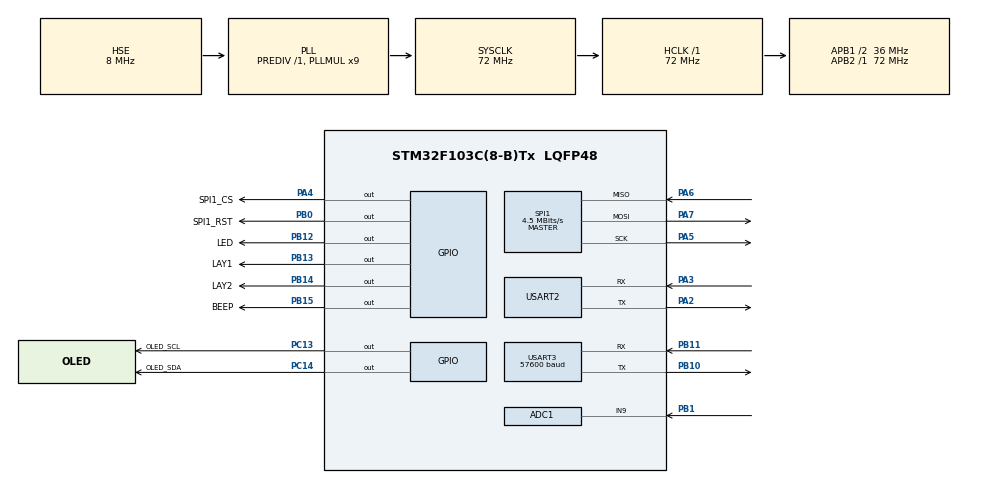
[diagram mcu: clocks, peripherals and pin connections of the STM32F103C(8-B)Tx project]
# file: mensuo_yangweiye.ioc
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ADC1.Channel-0\#ChannelRegularConversion=ADC_CHANNEL_9
ADC1.NbrOfConversionFlag=1
ADC1.Rank-0\#ChannelRegularConversion=1
ADC1.SamplingTime-0\#ChannelRegularConversion=ADC_SAMPLETIME_1CYCLE_5
ADC1.master=1
Mcu.Family=STM32F1
Mcu.Name=STM32F103C(8-B)Tx
Mcu.Package=LQFP48
NVIC.PriorityGroup=NVIC_PRIORITYGROUP_4
NVIC.SPI1_IRQn=true\:2\:0\:true\:false\:true\:true\:true\:true
NVIC.USART2_IRQn=true\:0\:0\:false\:false\:true\:true\:true\:true
NVIC.USART3_IRQn=true\:1\:0\:true\:false\:true\:true\:true\:true
PA13.Mode=Serial_Wire
PA13.Signal=SYS_JTMS-SWDIO
PA14.Mode=Serial_Wire
PA14.Signal=SYS_JTCK-SWCLK
PA2.Mode=Asynchronous
PA2.Signal=USART2_TX
PA3.Mode=Asynchronous
PA3.Signal=USART2_RX
PA4.GPIO_Label=SPI1_CS
PA4.GPIO_PuPd=GPIO_PULLUP
PA4.GPIO_Speed=GPIO_SPEED_FREQ_HIGH
PA4.PinState=GPIO_PIN_SET
PA4.Signal=GPIO_Output
PA5.Mode=Full_Duplex_Master
PA5.Signal=SPI1_SCK
PA6.Mode=Full_Duplex_Master
PA6.Signal=SPI1_MISO
PA7.Mode=Full_Duplex_Master
PA7.Signal=SPI1_MOSI
PB0.GPIO_Label=SPI1_RST
PB0.GPIO_ModeDefaultOutputPP=GPIO_MODE_OUTPUT_PP
PB0.GPIO_PuPd=GPIO_PULLUP
PB0.GPIO_Speed=GPIO_SPEED_FREQ_HIGH
PB0.PinState=GPIO_PIN_SET
PB0.Signal=GPIO_Output
PB1.Signal=ADCx_IN9
PB10.Mode=Asynchronous
PB10.Signal=USART3_TX
PB11.Mode=Asynchronous
PB11.Signal=USART3_RX
PB12.GPIO_Label=LED
PB12.GPIO_ModeDefaultOutputPP=GPIO_MODE_OUTPUT_PP
PB12.GPIO_PuPd=GPIO_PULLUP
PB12.GPIO_Speed=GPIO_SPEED_FREQ_HIGH
PB12.PinState=GPIO_PIN_SET
PB12.Signal=GPIO_Output
PB13.GPIO_Label=LAY1
PB13.GPIO_ModeDefaultOutputPP=GPIO_MODE_OUTPUT_PP
PB13.GPIO_PuPd=GPIO_PULLDOWN
PB13.GPIO_Speed=GPIO_SPEED_FREQ_HIGH
PB13.PinState=GPIO_PIN_SET
PB13.Signal=GPIO_Output
PB14.GPIO_Label=LAY2
PB14.GPIO_PuPd=GPIO_PULLDOWN
PB14.GPIO_Speed=GPIO_SPEED_FREQ_HIGH
PB14.PinState=GPIO_PIN_SET
PB14.Signal=GPIO_Output
PB15.GPIO_Label=BEEP
PB15.GPIO_ModeDefaultOutputPP=GPIO_MODE_OUTPUT_PP
PB15.GPIO_PuPd=GPIO_PULLUP
PB15.GPIO_Speed=GPIO_SPEED_FREQ_HIGH
PB15.PinState=GPIO_PIN_SET
PB15.Signal=GPIO_Output
PC13-TAMPER-RTC.GPIO_Label=OLED_SCL
PC13-TAMPER-RTC.GPIO_PuPd=GPIO_PULLUP
PC13-TAMPER-RTC.GPIO_Speed=GPIO_SPEED_FREQ_HIGH
PC13-TAMPER-RTC.PinState=GPIO_PIN_SET
PC13-TAMPER-RTC.Signal=GPIO_Output
PC14-OSC32_IN.GPIO_Label=OLED_SDA
PC14-OSC32_IN.GPIO_ModeDefaultOutputPP=GPIO_MODE_OUTPUT_PP
PC14-OSC32_IN.GPIO_PuPd=GPIO_PULLUP
PC14-OSC32_IN.GPIO_Speed=GPIO_SPEED_FREQ_HIGH
PC14-OSC32_IN.PinState=GPIO_PIN_SET
PC14-OSC32_IN.Signal=GPIO_Output
PD0-OSC_IN.Mode=HSE-External-Oscillator
PD0-OSC_IN.Signal=RCC_OSC_IN
PD1-OSC_OUT.Mode=HSE-External-Oscillator
PD1-OSC_OUT.Signal=RCC_OSC_OUT
ProjectManager.HeapSize=0x200
ProjectManager.StackSize=0x400
ProjectManager.TargetToolchain=MDK-ARM V5.32
RCC.ADCPresc=RCC_ADCPCLK2_DIV6
RCC.AHBFreq_Value=72000000
RCC.APB1CLKDivider=RCC_HCLK_DIV2
RCC.APB1Freq_Value=36000000
RCC.APB1TimFreq_Value=72000000
RCC.APB2Freq_Value=72000000
RCC.APB2TimFreq_Value=72000000
RCC.HCLKFreq_Value=72000000
RCC.PLLMUL=RCC_PLL_MUL9
RCC.PLLSourceVirtual=RCC_PLLSOURCE_HSE
RCC.SYSCLKFreq_VALUE=72000000
RCC.SYSCLKSource=RCC_SYSCLKSOURCE_PLLCLK
RCC.USBFreq_Value=72000000
SH.ADCx_IN9.0=ADC1_IN9,IN9
SPI1.BaudRatePrescaler=SPI_BAUDRATEPRESCALER_16
SPI1.CalculateBaudRate=4.5 MBits/s
SPI1.Direction=SPI_DIRECTION_2LINES
SPI1.Mode=SPI_MODE_MASTER
SPI1.VirtualType=VM_MASTER
USART2.VirtualMode=VM_ASYNC
USART3.BaudRate=57600
USART3.VirtualMode=VM_ASYNC
board=custom

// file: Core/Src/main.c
/* USER CODE BEGIN Header */
/**
  ******************************************************************************
  * @file           : main.c
  * @brief          : Main program body
  ******************************************************************************
  * @attention
  *
  * Copyright (c) 2026 STMicroelectronics.
  * All rights reserved.
  *
  * This software is licensed under terms that can be found in the LICENSE file
  * in the root directory of this software component.
  * If no LICENSE file comes with this software, it is provided AS-IS.
  *
  ******************************************************************************
  */
/* USER CODE END Header */
#include "main.h"
#include "adc.h"
#include "spi.h"
#include "usart.h"
#include "gpio.h"

/* USER CODE BEGIN Includes */
#include "oled.h"
#include "RC522.h"
#include "AS608.h"
#include "stdio.h"
/* USER CODE END Includes */

/* USER CODE BEGIN PV */
// 蓝牙状态标志位
volatile uint8_t ble_connected = 0;
volatile uint8_t ble_disconnected = 0;
volatile uint8_t add_nfc_flag = 0;
volatile uint8_t del_nfc_flag = 0;
volatile uint8_t add_finger_flag = 0;
volatile uint8_t del_finger_flag = 0;
volatile uint8_t beep_flag = 0;
volatile uint8_t lay_flag = 0;
/* USER CODE END PV */

void SystemClock_Config(void);
/* USER CODE BEGIN PFP */
void ReadNFCCardsFromFlash(void);
uint8_t IsNFCCardRegistered(uint8_t *cardID);
void SaveNFCCardToFlash(uint8_t *cardID);
void AddNFCCardMode(void);
void DelNFCCardMode(void);
void DelNFCCardFromFlash(uint8_t *cardID);
void AddFingerMode(void);
void DelFingerMode(void);
/* USER CODE END PFP */

int main(void)
{

  /* MCU Configuration--------------------------------------------------------*/

  /* Reset of all peripherals, Initializes the Flash interface and the Systick. */
  HAL_Init();

  /* Configure the system clock */
  SystemClock_Config();

  /* Initialize all configured peripherals */
  MX_GPIO_Init();
  MX_ADC1_Init();
  MX_SPI1_Init();
  MX_USART3_UART_Init();
  MX_USART2_UART_Init();
  /* USER CODE BEGIN 2 */
  OLED_Init();
  OLED_ShowString(0,0,(uint8_t*)"Initializing...",8,1);
  OLED_Refresh();
  HAL_Delay(1000);
   HAL_GPIO_WritePin(GPIOB, GPIO_PIN_13, GPIO_PIN_RESET); // LAY1连接到PB13
	 HAL_GPIO_WritePin(GPIOB, GPIO_PIN_14, GPIO_PIN_RESET); // LAY1连接到PB13
  PCD_Init(); // 初始化RC522
  AS608_Init(); // 初始化AS608

  // AS608握手
  OLED_Clear();
  OLED_ShowString(0,0,(uint8_t*)"Checking AS608...",8,1);
  OLED_Refresh();

  uint32_t as608_addr = 0xffffffff;
  uint8_t handshakeResult = AS608_HandShake(&as608_addr);

  if (handshakeResult == AS608_ACK_OK)
  {
    // 握手成功
    OLED_Clear();
    OLED_ShowString(0, 0, (uint8_t*)"AS608 Handshake", 8, 1);
    OLED_ShowString(0, 8, (uint8_t*)"Success!", 8, 1);
    OLED_Refresh();
    HAL_Delay(2000);

    // 进入主页面
    OLED_Clear();
    OLED_ShowString(0, 0, (uint8_t*)"Wait for NFC card", 8, 1);
    OLED_ShowString(0, 8, (uint8_t*)"Wait for fingerprint", 8, 1);
    OLED_Refresh();
  }
  else
  {
    // 握手失败
    OLED_Clear();
    OLED_ShowString(0, 0, (uint8_t*)"AS608 Handshake", 8, 1);
    OLED_ShowString(0, 8, (uint8_t*)"Failed!", 8, 1);
    OLED_Refresh();
    HAL_Delay(2000);
		while(1);
  }

  // 读取已保存的NFC卡数据
  ReadNFCCardsFromFlash();
  /* USER CODE END 2 */

  /* Infinite loop */
  while (1)
  {

    /* USER CODE BEGIN 3 */
    // 处理蓝牙连接标志
    if (ble_connected)
    {
      // 显示蓝牙连接成功
      OLED_Clear();
      OLED_ShowString(0, 0, (uint8_t*)"Wait for NFC card", 8, 1);
      OLED_ShowString(0, 8, (uint8_t*)"Wait for fingerprint", 8, 1);
      OLED_ShowString(0, 16, (uint8_t*)"BLE Connected", 8, 1);
      OLED_Refresh();
      HAL_Delay(2000);

      // 清除标志位
      ble_connected = 0;
    }

    // 处理蓝牙断开标志
    if (ble_disconnected)
    {
      // 显示蓝牙断开
      OLED_Clear();
      OLED_ShowString(0, 0, (uint8_t*)"Wait for NFC card", 8, 1);
      OLED_ShowString(0, 8, (uint8_t*)"Wait for fingerprint", 8, 1);
      OLED_ShowString(0, 16, (uint8_t*)"BLE Disconnected", 8, 1);
      OLED_Refresh();
      HAL_Delay(2000);

      // 清除标志位
      ble_disconnected = 0;
    }

    // 处理添加NFC卡标志
    if (add_nfc_flag)
    {
      // 显示添加NFC卡界面
      OLED_Clear();
      OLED_ShowString(0, 0, (uint8_t*)"Add NFC Card", 8, 1);
      OLED_ShowString(0, 8, (uint8_t*)"Please approach card", 8, 1);
      OLED_Refresh();

      // 清除标志位
      add_nfc_flag = 0;

      // 进入添加NFC卡模式
      AddNFCCardMode();
    }

    // 处理删除NFC卡标志
    if (del_nfc_flag)
    {
      // 显示删除NFC卡界面
      OLED_Clear();
      OLED_ShowString(0, 0, (uint8_t*)"Delete NFC Card", 8, 1);
      OLED_ShowString(0, 8, (uint8_t*)"Please approach card", 8, 1);
      OLED_Refresh();

      // 清除标志位
      del_nfc_flag = 0;

      // 进入删除NFC卡模式
      DelNFCCardMode();
    }

    // 处理添加指纹标志
    if (add_finger_flag)
    {
      // 显示添加指纹界面
      OLED_Clear();
      OLED_ShowString(0, 0, (uint8_t*)"Add Fingerprint", 8, 1);
      OLED_ShowString(0, 8, (uint8_t*)"Please place finger", 8, 1);
      OLED_Refresh();

      // 清除标志位
      add_finger_flag = 0;

      // 进入添加指纹模式
      AddFingerMode();
    }

    // 处理删除指纹标志
    if (del_finger_flag)
    {
      // 显示删除指纹界面
      OLED_Clear();
      OLED_ShowString(0, 0, (uint8_t*)"Delete Fingerprint", 8, 1);
      OLED_ShowString(0, 8, (uint8_t*)"Please place finger", 8, 1);
      OLED_Refresh();

      // 清除标志位
      del_finger_flag = 0;

      // 进入删除指纹模式
      DelFingerMode();
    }

    // 处理蜂鸣器标志
    if (beep_flag)
    {
      // 蜂鸣器拉低
      HAL_GPIO_WritePin(GPIOB, GPIO_PIN_15, GPIO_PIN_RESET);
      // 延时3秒
      HAL_Delay(3000);
      // 蜂鸣器拉高
      HAL_GPIO_WritePin(GPIOB, GPIO_PIN_15, GPIO_PIN_SET);
      // 清除标志位
      beep_flag = 0;
    }

    // 处理LAY1标志
    if (lay_flag)
    {
      // LAY1拉高
      HAL_GPIO_WritePin(GPIOB, GPIO_PIN_13, GPIO_PIN_SET);
      // 延时3秒
      HAL_Delay(3000);
      // LAY1拉低
      HAL_GPIO_WritePin(GPIOB, GPIO_PIN_13, GPIO_PIN_RESET);
      // 清除标志位
      lay_flag = 0;
    }

    // 检测光照值
    static uint32_t lastLightCheckTime = 0;
    uint32_t lightCurrentTime = HAL_GetTick();
    if (lightCurrentTime - lastLightCheckTime >= 1000) // 每秒检测一次
    {
      // 读取ADC1_IN9的值
      HAL_ADC_Start(&hadc1);
      HAL_ADC_PollForConversion(&hadc1, 100);
      uint32_t adcValue = HAL_ADC_GetValue(&hadc1);
      HAL_ADC_Stop(&hadc1);

      // 格式化光照值字符串
      char lightString[20];
      sprintf(lightString, "Light: %lu", adcValue);

      // 显示光照值
      OLED_ShowString(0, 24, (uint8_t*)lightString, 8, 1);
      OLED_Refresh();

      // 光照值过高处理
      if (adcValue > 3000) // 假设3000为过高阈值
      {
        // 拉低LED工作
        HAL_GPIO_WritePin(GPIOB, GPIO_PIN_12, GPIO_PIN_RESET); // 假设LED连接到PB12
        // 拉高LAY2
        HAL_GPIO_WritePin(GPIOB, GPIO_PIN_14, GPIO_PIN_SET); // LAY2连接到PB14
        // 延时3秒
        HAL_Delay(3000);
        // 拉低LAY2
        HAL_GPIO_WritePin(GPIOB, GPIO_PIN_14, GPIO_PIN_RESET);
      }
      // 光照值过低处理
      else if (adcValue < 1000) // 假设1000为过低阈值
      {
        // 拉高LED不工作
        HAL_GPIO_WritePin(GPIOB, GPIO_PIN_12, GPIO_PIN_SET); // 假设LED连接到PB12
      }

      lastLightCheckTime = lightCurrentTime;
    }

    // 保留RC522功能
    uint8_t status; // 状态变量
    uint8_t cardType; // 卡片类型
    uint8_t cardID[4]; // 卡片ID
    char idString[16]; // ID字符串

    // 寻找卡片
    status = PCD_Request(PICC_REQIDL, &cardType);
    if (status == PCD_OK)
    {
      // 防碰撞，获取卡片ID
      status = PCD_Anticoll(cardID);
      if (status == PCD_OK)
      {
        // 格式化ID字符串
        sprintf(idString, "ID: %02X %02X %02X %02X", cardID[0], cardID[1], cardID[2], cardID[3]);
        // 显示在OLED上
        OLED_Clear();
        OLED_ShowString(0, 0, (uint8_t*)"Card Detected", 8, 1);
        OLED_ShowString(0, 8, (uint8_t*)idString, 8, 1);

        // 检查是否已注册
        if (IsNFCCardRegistered(cardID))
        {
          OLED_ShowString(0, 16, (uint8_t*)"Access Granted", 8, 1);

          // 拉高LAY1使得继电器工作
          HAL_GPIO_WritePin(GPIOB, GPIO_PIN_13, GPIO_PIN_SET); // LAY1连接到PB13

          OLED_Refresh();
          HAL_Delay(3000); // 3秒后关闭

          // 关闭继电器
          HAL_GPIO_WritePin(GPIOB, GPIO_PIN_13, GPIO_PIN_RESET);
        }
        else
        {
          OLED_ShowString(0, 16, (uint8_t*)"Access Denied", 8, 1);

          // 拉低beep工作
          HAL_GPIO_WritePin(GPIOB, GPIO_PIN_15, GPIO_PIN_RESET); // beep连接到PB15

          OLED_Refresh();
          HAL_Delay(3000); // 3秒后关闭

          // 关闭蜂鸣器
          HAL_GPIO_WritePin(GPIOB, GPIO_PIN_15, GPIO_PIN_SET);
        }

        // 显示主页面
        OLED_Clear();
        OLED_ShowString(0, 0, (uint8_t*)"Wait for NFC card", 8, 1);
        OLED_ShowString(0, 8, (uint8_t*)"Wait for fingerprint", 8, 1);
        OLED_Refresh();
      }
    }

    // 指纹检测
    static uint32_t lastFingerCheckTime = 0;
    uint32_t currentTime = HAL_GetTick();

    if (currentTime - lastFingerCheckTime >= 500)
    {
      lastFingerCheckTime = currentTime;

      uint16_t fingerID = 0;
      uint16_t score = 0;
      uint8_t fingerResult = AS608_VerifyFinger(&fingerID, &score);

      if (fingerResult == AS608_ACK_OK)
      {
        // 指纹验证成功
        OLED_Clear();
        OLED_ShowString(0, 0, (uint8_t*)"Finger Verified", 8, 1);
        char idStr[16];
        sprintf(idStr, "ID: %d", fingerID);
        OLED_ShowString(0, 8, (uint8_t*)idStr, 8, 1);

        // 检查指纹是否已保存
        // 这里假设AS608_VerifyFinger返回ACK_OK表示指纹已保存
        OLED_ShowString(0, 16, (uint8_t*)"Access Granted", 8, 1);

        // 拉高LAY1使得继电器工作
        HAL_GPIO_WritePin(GPIOB, GPIO_PIN_13, GPIO_PIN_SET); // LAY1连接到PB13

        OLED_Refresh();
        HAL_Delay(3000); // 3秒后关闭

        // 关闭继电器
        HAL_GPIO_WritePin(GPIOB, GPIO_PIN_13, GPIO_PIN_RESET);

        // 显示主页面
        OLED_Clear();
        OLED_ShowString(0, 0, (uint8_t*)"Wait for NFC card", 8, 1);
        OLED_ShowString(0, 8, (uint8_t*)"Wait for fingerprint", 8, 1);
        OLED_Refresh();
      }
      else if (fingerResult == AS608_ACK_NO_FINGER)
      {
        // 没有检测到指纹，不做处理
      }
      else
      {
        // 指纹未保存
        OLED_Clear();
        OLED_ShowString(0, 0, (uint8_t*)"Finger Not Found", 8, 1);
        OLED_ShowString(0, 8, (uint8_t*)"Access Denied", 8, 1);

        // 拉低beep工作
        HAL_GPIO_WritePin(GPIOB, GPIO_PIN_15, GPIO_PIN_RESET); // beep连接到PB15

        OLED_Refresh();
        HAL_Delay(3000); // 3秒后关闭

        // 关闭蜂鸣器
        HAL_GPIO_WritePin(GPIOB, GPIO_PIN_15, GPIO_PIN_SET);

        // 显示主页面
        OLED_Clear();
        OLED_ShowString(0, 0, (uint8_t*)"Wait for NFC card", 8, 1);
        OLED_ShowString(0, 8, (uint8_t*)"Wait for fingerprint", 8, 1);
        OLED_Refresh();
      }
    }

    HAL_Delay(100);
  }
  /* USER CODE END 3 */
}

void SystemClock_Config(void)
{
  RCC_OscInitTypeDef RCC_OscInitStruct = {0};
  RCC_ClkInitTypeDef RCC_ClkInitStruct = {0};
  RCC_PeriphCLKInitTypeDef PeriphClkInit = {0};

  /** Initializes the RCC Oscillators according to the specified parameters
  * in the RCC_OscInitTypeDef structure.
  */
  RCC_OscInitStruct.OscillatorType = RCC_OSCILLATORTYPE_HSE;
  RCC_OscInitStruct.HSEState = RCC_HSE_ON;
  RCC_OscInitStruct.HSEPredivValue = RCC_HSE_PREDIV_DIV1;
  RCC_OscInitStruct.HSIState = RCC_HSI_ON;
  RCC_OscInitStruct.PLL.PLLState = RCC_PLL_ON;
  RCC_OscInitStruct.PLL.PLLSource = RCC_PLLSOURCE_HSE;
  RCC_OscInitStruct.PLL.PLLMUL = RCC_PLL_MUL9;
  if (HAL_RCC_OscConfig(&RCC_OscInitStruct) != HAL_OK)
  {
    Error_Handler();
  }

  /** Initializes the CPU, AHB and APB buses clocks
  */
  RCC_ClkInitStruct.ClockType = RCC_CLOCKTYPE_HCLK|RCC_CLOCKTYPE_SYSCLK
                              |RCC_CLOCKTYPE_PCLK1|RCC_CLOCKTYPE_PCLK2;
  RCC_ClkInitStruct.SYSCLKSource = RCC_SYSCLKSOURCE_PLLCLK;
  RCC_ClkInitStruct.AHBCLKDivider = RCC_SYSCLK_DIV1;
  RCC_ClkInitStruct.APB1CLKDivider = RCC_HCLK_DIV2;
  RCC_ClkInitStruct.APB2CLKDivider = RCC_HCLK_DIV1;

  if (HAL_RCC_ClockConfig(&RCC_ClkInitStruct, FLASH_LATENCY_2) != HAL_OK)
  {
    Error_Handler();
  }
  PeriphClkInit.PeriphClockSelection = RCC_PERIPHCLK_ADC;
  PeriphClkInit.AdcClockSelection = RCC_ADCPCLK2_DIV6;
  if (HAL_RCCEx_PeriphCLKConfig(&PeriphClkInit) != HAL_OK)
  {
    Error_Handler();
  }
}

/* USER CODE BEGIN 4 */

// NFC卡ID存储相关定义
#define MAX_NFC_CARDS 10
#define NFC_CARD_SIZE 4 // 每个NFC卡ID为4字节

// 存储NFC卡ID的数组
uint8_t nfcCards[MAX_NFC_CARDS][NFC_CARD_SIZE];
uint8_t nfcCardCount = 0;

// 从Flash读取NFC卡数据
void ReadNFCCardsFromFlash(void)
{
    // 这里需要实现从Flash读取数据的逻辑
    // 暂时使用默认值
    nfcCardCount = 0;
}

// 检查NFC卡是否已注册
uint8_t IsNFCCardRegistered(uint8_t *cardID)
{
    for (uint8_t i = 0; i < nfcCardCount; i++)
    {
        if (memcmp(nfcCards[i], cardID, NFC_CARD_SIZE) == 0)
        {
            return 1; // 卡已注册
        }
    }
    return 0; // 卡未注册
}

// 保存NFC卡ID到Flash
void SaveNFCCardToFlash(uint8_t *cardID)
{
    if (nfcCardCount < MAX_NFC_CARDS)
    {
        // 复制卡ID到数组
        memcpy(nfcCards[nfcCardCount], cardID, NFC_CARD_SIZE);
        nfcCardCount++;

        // 这里需要实现将数据写入Flash的逻辑
    }
}

// 从Flash删除NFC卡ID
void DelNFCCardFromFlash(uint8_t *cardID)
{
    for (uint8_t i = 0; i < nfcCardCount; i++)
    {
        if (memcmp(nfcCards[i], cardID, NFC_CARD_SIZE) == 0)
        {
            // 找到要删除的卡，将后面的卡向前移动
            for (uint8_t j = i; j < nfcCardCount - 1; j++)
            {
                memcpy(nfcCards[j], nfcCards[j+1], NFC_CARD_SIZE);
            }
            nfcCardCount--;

            // 这里需要实现将数据写入Flash的逻辑
            break;
        }
    }
}

// 添加NFC卡模式
void AddNFCCardMode(void)
{
    uint8_t status;
    uint8_t cardType;
    uint8_t cardID[4];
    char idString[16];

    // 等待用户靠近NFC卡
    while (1)
    {
        // 寻找卡片
        status = PCD_Request(PICC_REQIDL, &cardType);
        if (status == PCD_OK)
        {
            // 防碰撞，获取卡片ID
            status = PCD_Anticoll(cardID);
            if (status == PCD_OK)
            {
                // 格式化ID字符串
                sprintf(idString, "ID: %02X %02X %02X %02X", cardID[0], cardID[1], cardID[2], cardID[3]);

                // 检查卡是否已注册
                if (IsNFCCardRegistered(cardID))
                {
                    // 显示已注册
                    OLED_Clear();
                    OLED_ShowString(0, 0, (uint8_t*)"Card Already Registered", 8, 1);
                    OLED_ShowString(0, 8, (uint8_t*)idString, 8, 1);
                    OLED_Refresh();
                    HAL_Delay(2000);
                }
                else
                {
                    // 保存卡ID到Flash
                    SaveNFCCardToFlash(cardID);

                    // 显示注册成功
                    OLED_Clear();
                    OLED_ShowString(0, 0, (uint8_t*)"Card Registered", 8, 1);
                    OLED_ShowString(0, 8, (uint8_t*)idString, 8, 1);
                    OLED_Refresh();
                    HAL_Delay(2000);
                }

                // 显示主页面
                OLED_Clear();
                OLED_ShowString(0, 0, (uint8_t*)"Wait for NFC card", 8, 1);
                OLED_ShowString(0, 8, (uint8_t*)"Wait for fingerprint", 8, 1);
                OLED_Refresh();
                break;
            }
        }

        HAL_Delay(100);
    }
}

// 删除NFC卡模式
void DelNFCCardMode(void)
{
    uint8_t status;
    uint8_t cardType;
    uint8_t cardID[4];
    char idString[16];

    // 等待用户靠近NFC卡
    while (1)
    {
        // 寻找卡片
        status = PCD_Request(PICC_REQIDL, &cardType);
        if (status == PCD_OK)
        {
            // 防碰撞，获取卡片ID
            status = PCD_Anticoll(cardID);
            if (status == PCD_OK)
            {
                // 格式化ID字符串
                sprintf(idString, "ID: %02X %02X %02X %02X", cardID[0], cardID[1], cardID[2], cardID[3]);

                // 检查卡是否已注册
                if (IsNFCCardRegistered(cardID))
                {
                    // 从Flash删除卡ID
                    DelNFCCardFromFlash(cardID);

                    // 显示删除成功
                    OLED_Clear();
                    OLED_ShowString(0, 0, (uint8_t*)"Card Deleted", 8, 1);
                    OLED_ShowString(0, 8, (uint8_t*)idString, 8, 1);
                    OLED_Refresh();
                    HAL_Delay(2000);
                }
                else
                {
                    // 显示卡片未注册
                    OLED_Clear();
                    OLED_ShowString(0, 0, (uint8_t*)"Card Not Registered", 8, 1);
                    OLED_ShowString(0, 8, (uint8_t*)idString, 8, 1);
                    OLED_Refresh();
                    HAL_Delay(2000);
                }

                // 显示主页面
                OLED_Clear();
                OLED_ShowString(0, 0, (uint8_t*)"Wait for NFC card", 8, 1);
                OLED_ShowString(0, 8, (uint8_t*)"Wait for fingerprint", 8, 1);
                OLED_Refresh();
                break;
            }
        }

        HAL_Delay(100);
    }
}

// 添加指纹模式
void AddFingerMode(void)
{
    uint16_t id = 0;
    uint8_t status;
    uint16_t pageID, score;

    // 查找可用的指纹ID
    for (id = 0; id < 200; id++)
    {
        // 尝试搜索当前ID，如果没有找到则认为该ID可用
        status = AS608_Search(1, id, 1, &pageID, &score);
        if (status != AS608_ACK_OK)
        {
            break; // 找到可用的ID
        }
    }

    if (id >= 200)
    {
        // 没有可用的ID
        OLED_Clear();
        OLED_ShowString(0, 0, (uint8_t*)"No space", 8, 1);
        OLED_ShowString(0, 8, (uint8_t*)"for new fingerprint", 8, 1);
        OLED_Refresh();
        HAL_Delay(2000);
        return;
    }

    // 第一步：采集指纹
    OLED_Clear();
    OLED_ShowString(0, 0, (uint8_t*)"Place finger", 8, 1);
    OLED_ShowString(0, 8, (uint8_t*)"First time", 8, 1);
    OLED_Refresh();

    while (1)
    {
        status = AS608_GetImage();
        if (status == AS608_ACK_OK)
        {
            break; // 采集成功
        }
        HAL_Delay(500);
    }

    // 提取特征
    status = AS608_GenChar(1); // 1表示第一缓冲区
    if (status != AS608_ACK_OK)
    {
        OLED_Clear();
        OLED_ShowString(0, 0, (uint8_t*)"Feature extract", 8, 1);
        OLED_ShowString(0, 8, (uint8_t*)"failed", 8, 1);
        OLED_Refresh();
        HAL_Delay(2000);
        return;
    }

    // 第二步：再次采集指纹
    OLED_Clear();
    OLED_ShowString(0, 0, (uint8_t*)"Place finger", 8, 1);
    OLED_ShowString(0, 8, (uint8_t*)"Second time", 8, 1);
    OLED_Refresh();

    while (1)
    {
        status = AS608_GetImage();
        if (status == AS608_ACK_OK)
        {
            break; // 采集成功
        }
        HAL_Delay(500);
    }

    // 提取特征
    status = AS608_GenChar(2); // 2表示第二缓冲区
    if (status != AS608_ACK_OK)
    {
        OLED_Clear();
        OLED_ShowString(0, 0, (uint8_t*)"Feature extract", 8, 1);
        OLED_ShowString(0, 8, (uint8_t*)"failed", 8, 1);
        OLED_Refresh();
        HAL_Delay(2000);
        return;
    }

    // 合并特征
    status = AS608_RegModel();
    if (status != AS608_ACK_OK)
    {
        OLED_Clear();
        OLED_ShowString(0, 0, (uint8_t*)"Model merge", 8, 1);
        OLED_ShowString(0, 8, (uint8_t*)"failed", 8, 1);
        OLED_Refresh();
        HAL_Delay(2000);
        return;
    }

    // 保存指纹
    status = AS608_StoreChar(1, id);
    if (status == AS608_ACK_OK)
    {
        // 注册成功
        OLED_Clear();
        OLED_ShowString(0, 0, (uint8_t*)"Fingerprint", 8, 1);
        OLED_ShowString(0, 8, (uint8_t*)"registered", 8, 1);
        OLED_Refresh();
        HAL_Delay(2000);
    }
    else
    {
        // 注册失败
        OLED_Clear();
        OLED_ShowString(0, 0, (uint8_t*)"Registration", 8, 1);
        OLED_ShowString(0, 8, (uint8_t*)"failed", 8, 1);
        OLED_Refresh();
        HAL_Delay(2000);
    }

    // 显示主页面
    OLED_Clear();
    OLED_ShowString(0, 0, (uint8_t*)"Wait for NFC card", 8, 1);
    OLED_ShowString(0, 8, (uint8_t*)"Wait for fingerprint", 8, 1);
    OLED_Refresh();
}

// 删除指纹模式
void DelFingerMode(void)
{
    uint8_t status;
    uint16_t pageID, score;

    // 采集指纹图像
    while (1)
    {
        status = AS608_GetImage();
        if (status == AS608_ACK_OK)
        {
            break; // 采集成功
        }
        HAL_Delay(500);
    }

    // 提取特征
    status = AS608_GenChar(1); // 1表示第一缓冲区
    if (status != AS608_ACK_OK)
    {
        OLED_Clear();
        OLED_ShowString(0, 0, (uint8_t*)"Feature extract", 8, 1);
        OLED_ShowString(0, 8, (uint8_t*)"failed", 8, 1);
        OLED_Refresh();
        HAL_Delay(2000);
        return;
    }

    // 搜索指纹
    status = AS608_Search(1, 0, 200, &pageID, &score);
    if (status == AS608_ACK_OK)
    {
        // 找到指纹，删除它
        status = AS608_DeleteChar(pageID, 1);
        if (status == AS608_ACK_OK)
        {
            // 删除成功
            OLED_Clear();
            OLED_ShowString(0, 0, (uint8_t*)"Fingerprint", 8, 1);
            OLED_ShowString(0, 8, (uint8_t*)"deleted", 8, 1);
            OLED_Refresh();
            HAL_Delay(2000);
        }
        else
        {
            // 删除失败
            OLED_Clear();
            OLED_ShowString(0, 0, (uint8_t*)"Delete", 8, 1);
            OLED_ShowString(0, 8, (uint8_t*)"failed", 8, 1);
            OLED_Refresh();
            HAL_Delay(2000);
        }
    }
    else
    {
        // 没有找到指纹
        OLED_Clear();
        OLED_ShowString(0, 0, (uint8_t*)"Fingerprint", 8, 1);
        OLED_ShowString(0, 8, (uint8_t*)"not found", 8, 1);
        OLED_Refresh();
        HAL_Delay(2000);
    }

    // 显示主页面
    OLED_Clear();
    OLED_ShowString(0, 0, (uint8_t*)"Wait for NFC card", 8, 1);
    OLED_ShowString(0, 8, (uint8_t*)"Wait for fingerprint", 8, 1);
    OLED_Refresh();
}

/* USER CODE END 4 */

void Error_Handler(void)
{
  __disable_irq();
  while (1)
  {
  }
}
